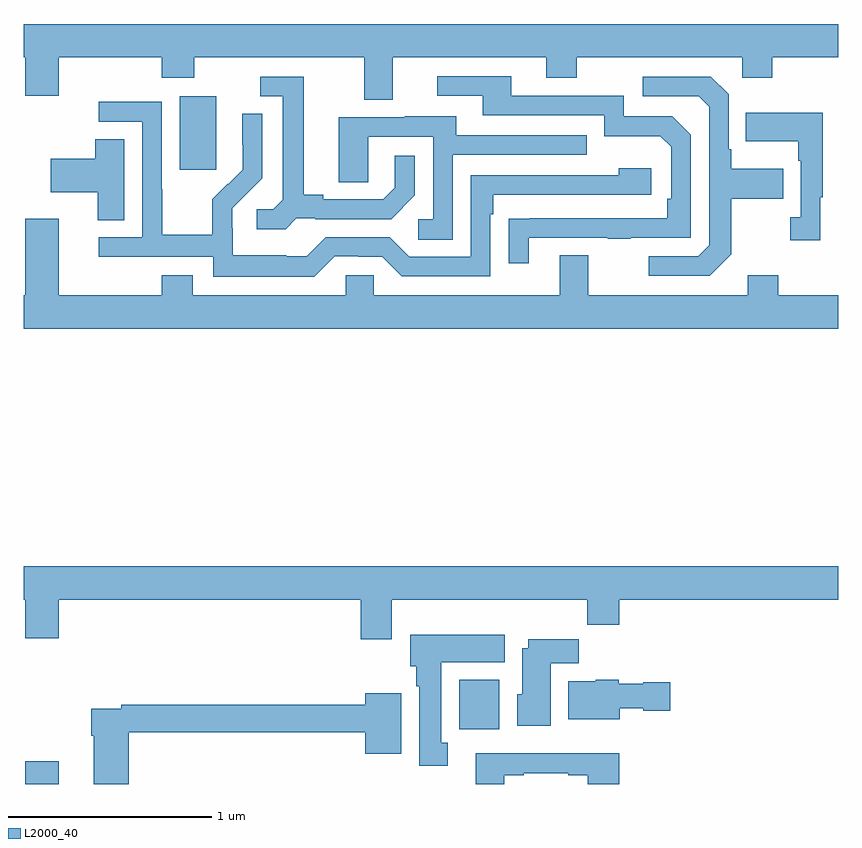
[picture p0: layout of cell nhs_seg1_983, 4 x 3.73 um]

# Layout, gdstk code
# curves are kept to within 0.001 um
import gdstk
lib = gdstk.Library(unit=1e-6, precision=1e-09)
def R(c, l, rs):  # rectangles x0, y0, x1, y1
    for r in rs: c.add(gdstk.rectangle(r[:2], r[2:], *l))
def P(c, l, *ps):  # polygons
    for p in ps: c.add(gdstk.Polygon(p, *l))
L2000_40 = (2000, 40)

nhs_seg1_983 = lib.new_cell('nhs_seg1_983')
R(nhs_seg1_983, L2000_40, [(165.008,512.199,165.172,512.311), (167.138,512.468,167.335,512.71), (165.767,515.217,165.946,515.578)])
P(nhs_seg1_983, L2000_40, [(166.813,515.768),(167.567,515.768),(167.567,515.669),(167.715,515.669),(167.715,515.768),(168.528,515.768),(168.528,515.669),(168.675,515.669),(168.675,515.768),(169,515.768),(169,515.932),(165,515.932),(165,515.768),(165.008,515.768),(165.008,515.58),(165.172,515.58),(165.172,515.768),(165.677,515.768),(165.677,515.669),(165.837,515.669),(165.837,515.768),(166.673,515.768),(166.673,515.56),(166.813,515.56)],
  [(167.479,514.881),(167.869,514.881),(167.869,514.876),(167.981,514.876),(167.981,514.881),(168.276,514.881),(168.276,515.388),(168.186,515.478),(167.946,515.478),(167.946,515.58),(167.395,515.58),(167.395,515.676),(167.031,515.676),(167.031,515.58),(167.255,515.58),(167.255,515.484),(167.85,515.484),(167.85,515.381),(168.127,515.381),(168.18,515.328),(168.18,515.074),(168.16,515.074),(168.16,514.977),(167.383,514.976),(167.383,514.758),(167.479,514.758)],
  [(166.338,514.977),(166.432,514.977),(166.432,514.974),(166.804,514.974),(166.92,515.09),(166.92,515.284),(166.823,515.284),(166.823,515.127),(166.766,515.07),(166.471,515.07),(166.471,515.093),(166.375,515.093),(166.375,515.673),(166.161,515.673),(166.161,515.577),(166.271,515.577),(166.271,515.069),(166.224,515.022),(166.143,515.022),(166.143,514.925),(166.286,514.925)],
  [(168.475,514.801),(168.475,515.074),(168.731,515.074),(168.731,515.221),(168.475,515.221),(168.475,515.317),(168.462,515.317),(168.462,515.586),(168.375,515.673),(168.039,515.673),(168.039,515.577),(168.315,515.577),(168.366,515.526),(168.366,514.845),(168.312,514.791),(168.069,514.791),(168.069,514.695),(168.369,514.695)],
  [(166.527,514.791),(166.643,514.791),(166.643,514.788),(166.761,514.788),(166.857,514.692),(167.292,514.692),(167.292,514.997),(167.305,514.997),(167.305,515.094),(168.082,515.094),(168.082,515.224),(167.921,515.224),(167.921,515.19),(167.196,515.19),(167.196,514.788),(166.893,514.788),(166.797,514.884),(166.482,514.884),(166.389,514.791),(166.289,514.791),(166.289,514.795),(166.026,514.795),(166.026,514.929),(166.024,514.929),(166.024,515.026),(166.17,515.174),(166.17,515.492),(166.074,515.492),(166.074,515.338),(166.076,515.338),(166.076,515.216),(166.005,515.145),(166.002,515.148),(165.925,515.071),(165.925,514.897),(165.681,514.897),(165.681,515.12),(165.678,515.12),(165.678,515.55),(165.369,515.55),(165.369,515.451),(165.582,515.451),(165.582,514.884),(165.369,514.884),(165.369,514.788),(165.93,514.788),(165.93,514.691),(166.427,514.691)],
  [(168.913,515.081),(168.925,515.081),(168.925,515.497),(168.547,515.497),(168.547,515.357),(168.804,515.357),(168.804,515.261),(168.816,515.261),(168.816,514.982),(168.765,514.982),(168.765,514.869),(168.913,514.869)],
  [(167.106,515.289),(167.765,515.289),(167.765,515.385),(167.125,515.385),(167.125,515.479),(166.871,515.479),(166.871,515.475),(166.547,515.475),(166.547,515.155),(166.692,515.155),(166.692,515.379),(167.01,515.379),(167.01,514.974),(166.938,514.974),(166.938,514.873),(167.106,514.873)],
  [(165.493,515.366),(165.35,515.366),(165.35,515.27),(165.132,515.27),(165.132,515.105),(165.362,515.105),(165.362,514.969),(165.493,514.969)],
  [(169,514.6),(168.705,514.6),(168.705,514.699),(168.557,514.699),(168.557,514.6),(167.773,514.6),(167.773,514.795),(167.633,514.795),(167.633,514.6),(166.719,514.6),(166.719,514.698),(166.581,514.698),(166.581,514.6),(165.829,514.6),(165.829,514.699),(165.677,514.699),(165.677,514.6),(165.172,514.6),(165.172,514.975),(165.008,514.975),(165.008,514.6),(165,514.6),(165,514.436),(169,514.436)],
  [(166.807,513.104),(167.767,513.104),(167.767,512.98),(167.924,512.98),(167.924,513.104),(169,513.104),(169,513.268),(165,513.268),(165,513.104),(165.008,513.104),(165.008,512.916),(165.172,512.916),(165.172,513.104),(166.655,513.104),(166.655,512.91),(166.807,512.91)],
  [(167.083,512.402),(167.05,512.402),(167.05,512.798),(167.362,512.798),(167.362,512.932),(166.898,512.932),(166.898,512.778),(166.928,512.778),(166.928,512.678),(166.943,512.678),(166.943,512.289),(167.083,512.289)],
  [(167.587,512.792),(167.726,512.792),(167.726,512.911),(167.477,512.911),(167.477,512.866),(167.447,512.866),(167.447,512.64),(167.423,512.64),(167.423,512.486),(167.587,512.486)],
  [(167.926,512.57),(168.042,512.57),(168.042,512.558),(168.175,512.558),(168.175,512.7),(168.042,512.7),(168.042,512.692),(167.922,512.692),(167.922,512.71),(167.808,512.71),(167.808,512.704),(167.675,512.704),(167.675,512.516),(167.926,512.516)],
  [(165.515,512.452),(166.676,512.452),(166.676,512.348),(166.855,512.348),(166.855,512.644),(166.676,512.644),(166.676,512.588),(165.478,512.588),(165.478,512.568),(165.332,512.568),(165.332,512.435),(165.344,512.435),(165.344,512.199),(165.515,512.199)],
  [(167.359,512.241),(167.455,512.241),(167.455,512.253),(167.675,512.253),(167.675,512.241),(167.771,512.241),(167.771,512.199),(167.924,512.199),(167.924,512.35),(167.219,512.35),(167.219,512.199),(167.359,512.199)])

lib.write_gds('nhs_seg1_983.gds')
